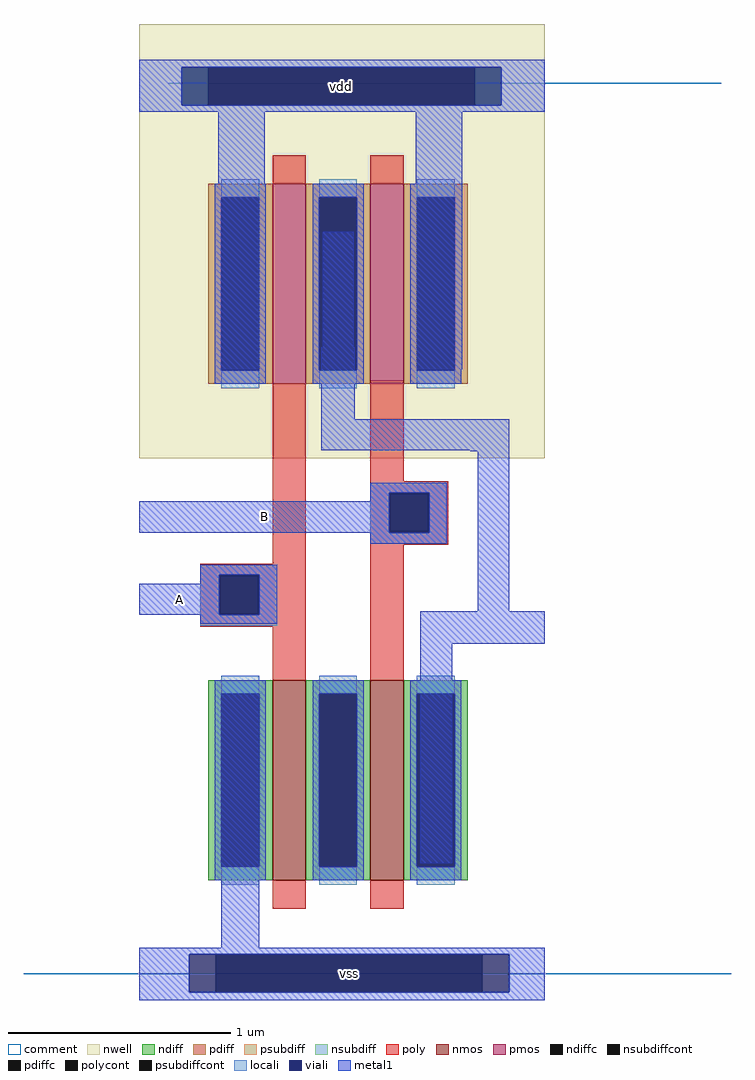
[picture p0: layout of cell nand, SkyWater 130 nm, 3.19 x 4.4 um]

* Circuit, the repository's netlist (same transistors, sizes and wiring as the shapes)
* NGSPICE file created from nand.ext - technology: sky130A

.subckt sky130_fd_pr__nfet_01v8_P8KVP3 VSUBS a_n15_n116# a_n73_n90# a_15_n90#
X0 a_15_n90# a_n15_n116# a_n73_n90# VSUBS sky130_fd_pr__nfet_01v8 ad=2.61e+11p pd=2.38e+06u as=2.61e+11p ps=2.38e+06u w=900000u l=150000u
.ends

.subckt sky130_fd_pr__pfet_01v8_5AYHFE VSUBS a_n15_n116# a_n73_n90# w_n109_n152# a_15_n90#
X0 a_15_n90# a_n15_n116# a_n73_n90# w_n109_n152# sky130_fd_pr__pfet_01v8 ad=2.61e+11p pd=2.38e+06u as=2.61e+11p ps=2.38e+06u w=900000u l=150000u
.ends


* Top level circuit nand

Xsky130_fd_pr__nfet_01v8_P8KVP3_0 vss A vss sky130_fd_pr__nfet_01v8_P8KVP3_0/a_15_n90#
+ sky130_fd_pr__nfet_01v8_P8KVP3
Xsky130_fd_pr__nfet_01v8_P8KVP3_1 vss B sky130_fd_pr__nfet_01v8_P8KVP3_0/a_15_n90#
+ out sky130_fd_pr__nfet_01v8_P8KVP3
Xsky130_fd_pr__pfet_01v8_5AYHFE_0 vss A vdd vdd out sky130_fd_pr__pfet_01v8_5AYHFE
Xsky130_fd_pr__pfet_01v8_5AYHFE_1 vss B out vdd vdd sky130_fd_pr__pfet_01v8_5AYHFE
.end

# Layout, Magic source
magic
tech sky130A
magscale 1 2
<< nwell >>
rect -525 517 -160 861
rect -525 485 -405 517
rect -374 485 -160 517
rect -525 484 -493 485
rect -366 484 -160 485
rect -525 476 -160 484
rect -525 475 -227 476
rect -220 475 -160 476
rect -525 470 -160 475
<< psubdiff >>
rect -480 -11 -456 23
rect -216 -11 -192 23
<< nsubdiff >>
rect -487 788 -463 822
rect -223 788 -199 822
<< psubdiffcont >>
rect -456 -11 -216 23
<< nsubdiffcont >>
rect -463 788 -223 822
<< poly >>
rect -405 375 -375 513
rect -470 364 -375 375
rect -470 330 -452 364
rect -418 330 -375 364
rect -470 318 -375 330
rect -405 295 -375 318
rect -317 449 -287 540
rect -317 438 -247 449
rect -317 404 -299 438
rect -265 404 -247 438
rect -317 392 -247 404
rect -317 284 -287 392
<< polycont >>
rect -452 330 -418 364
rect -299 404 -265 438
<< locali >>
rect -317 439 -248 448
rect -317 403 -300 439
rect -264 403 -248 439
rect -317 393 -248 403
rect -470 365 -401 374
rect -470 329 -453 365
rect -417 329 -401 365
rect -470 319 -401 329
<< viali >>
rect -487 788 -463 822
rect -463 788 -223 822
rect -223 788 -199 822
rect -300 438 -264 439
rect -300 404 -299 438
rect -299 404 -265 438
rect -265 404 -264 438
rect -300 403 -264 404
rect -453 364 -417 365
rect -453 330 -452 364
rect -452 330 -418 364
rect -418 330 -417 364
rect -453 329 -417 330
rect -480 -11 -456 23
rect -456 -11 -216 23
rect -216 -11 -192 23
<< metal1 >>
rect -525 822 -160 829
rect -525 788 -487 822
rect -199 788 -160 822
rect -525 782 -160 788
rect -454 550 -412 782
rect -360 570 -332 674
rect -361 505 -331 570
rect -276 550 -234 782
rect -361 477 -192 505
rect -227 476 -192 477
rect -317 439 -248 448
rect -317 431 -300 439
rect -525 403 -300 431
rect -264 403 -248 439
rect -317 393 -248 403
rect -470 365 -401 374
rect -470 357 -453 365
rect -525 329 -453 357
rect -417 329 -401 365
rect -220 332 -192 476
rect -470 321 -401 329
rect -272 303 -160 332
rect -451 29 -417 258
rect -272 105 -243 303
rect -525 23 -160 29
rect -525 -11 -480 23
rect -192 -11 -160 23
rect -525 -18 -160 -11
<< comment >>
rect -499 807 -1 808
rect -629 5 -526 6
rect -525 5 -160 6
rect -159 5 8 6
use sky130_fd_pr__nfet_01v8_P8KVP3  sky130_fd_pr__nfet_01v8_P8KVP3_0
transform 1 0 -390 0 1 180
box -73 -116 73 116
use sky130_fd_pr__nfet_01v8_P8KVP3  sky130_fd_pr__nfet_01v8_P8KVP3_1
transform 1 0 -302 0 1 180
box -73 -116 73 116
use sky130_fd_pr__pfet_01v8_5AYHFE  sky130_fd_pr__pfet_01v8_5AYHFE_0
transform 1 0 -390 0 1 627
box -109 -152 109 152
use sky130_fd_pr__pfet_01v8_5AYHFE  sky130_fd_pr__pfet_01v8_5AYHFE_1
transform 1 0 -302 0 1 627
box -109 -152 109 152
<< labels >>
rlabel metal1 -525 329 -453 357 1 A
rlabel metal1 -525 403 -300 431 1 B
rlabel nwell -463 788 -223 822 1 vdd
rlabel metal1 -456 -11 -216 23 1 vss
<< end >>

# cell sky130_fd_pr__nfet_01v8_P8KVP3: kit device sky130_fd_pr__nfet_01v8, w 0.9 l 0.150 m 1 nf 1 diffcov 100 polycov 100 guard 0 glc 0 grc 0 gtc 0 gbc 0 tbcov 100 rlcov 100 topc 0 botc 0 poverlap 0 doverlap 1 lmin 0.15 wmin 0.42 compatible {sky130_fd_pr__nfet_01v8 sky130_fd_pr__nfet_01v8_lvt sky130_fd_bs_flash__special_sonosfet_star sky130_fd_pr__nfet_g5v0d10v5 sky130_fd_pr__nfet_05v0_nvt} full_metal 0 viasrc 100 viadrn 100 viagate 100 viagb 0 viagr 0 viagl 0 viagt 0

# cell sky130_fd_pr__pfet_01v8_5AYHFE: kit device sky130_fd_pr__pfet_01v8, w 0.9 l 0.15 m 1 nf 1 diffcov 100 polycov 100 guard 0 glc 0 grc 0 gtc 0 gbc 0 tbcov 100 rlcov 100 topc 0 botc 0 poverlap 0 doverlap 1 lmin 0.15 wmin 0.42 compatible {sky130_fd_pr__pfet_01v8 sky130_fd_pr__pfet_01v8_lvt sky130_fd_pr__pfet_01v8_hvt sky130_fd_pr__pfet_g5v0d10v5} full_metal 0 viasrc 100 viadrn 100 viagate 100 viagb 0 viagr 0 viagl 0 viagt 0
